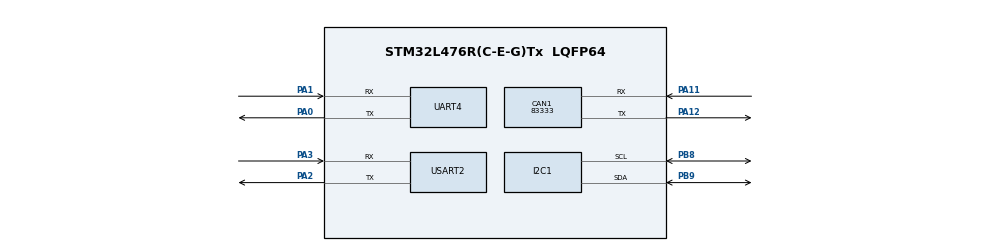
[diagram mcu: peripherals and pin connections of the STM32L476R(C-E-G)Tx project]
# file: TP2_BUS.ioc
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CAN1.CalculateBaudRate=83333
CAN1.CalculateTimeBit=12000.00
CAN1.CalculateTimeQuantum=4000.0
Mcu.Family=STM32L4
Mcu.Name=STM32L476R(C-E-G)Tx
Mcu.Package=LQFP64
NVIC.PriorityGroup=NVIC_PRIORITYGROUP_4
NVIC.UART4_IRQn=true\:0\:0\:false\:false\:true\:true\:true
NVIC.USART2_IRQn=true\:0\:0\:false\:false\:true\:true\:true
PA0.Mode=Asynchronous
PA0.Signal=UART4_TX
PA1.Mode=Asynchronous
PA1.Signal=UART4_RX
PA11.Mode=CAN_Activate
PA11.Signal=CAN1_RX
PA12.Mode=CAN_Activate
PA12.Signal=CAN1_TX
PA13\ (JTMS-SWDIO).Mode=Serial_Wire
PA13\ (JTMS-SWDIO).Signal=SYS_JTMS-SWDIO
PA14\ (JTCK-SWCLK).Mode=Serial_Wire
PA14\ (JTCK-SWCLK).Signal=SYS_JTCK-SWCLK
PA2.Mode=Asynchronous
PA2.Signal=USART2_TX
PA3.Mode=Asynchronous
PA3.Signal=USART2_RX
PB8.Mode=I2C
PB8.Signal=I2C1_SCL
PB9.Mode=I2C
PB9.Signal=I2C1_SDA
ProjectManager.HeapSize=0x200
ProjectManager.StackSize=0x400
ProjectManager.TargetToolchain=STM32CubeIDE
RCC.HSE_VALUE=8000000
RCC.HSI_VALUE=16000000
RCC.LSE_VALUE=32768
RCC.MSI_VALUE=4000000
RCC.VCOOutputFreq_Value=32000000
USART2.VirtualMode-Asynchronous=VM_ASYNC
board=custom

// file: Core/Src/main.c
/* USER CODE BEGIN Header */
/**
 ******************************************************************************
 * @file           : main.c
 * @brief          : Main program body
 ******************************************************************************
 * @attention
 *
 * <h2><center>&copy; Copyright (c) 2021 STMicroelectronics.
 * All rights reserved.</center></h2>
 *
 * This software component is licensed by ST under BSD 3-Clause license,
 * the "License"; You may not use this file except in compliance with the
 * License. You may obtain a copy of the License at:
 *                        opensource.org/licenses/BSD-3-Clause
 *
 ******************************************************************************
 */
/* USER CODE END Header */
#include "main.h"
#include "can.h"
#include "i2c.h"
#include "usart.h"
#include "gpio.h"

/* USER CODE BEGIN PV */
char echo[1];
int uart_it = 0;
int i = 0;
char Commande[100];
/* USER CODE END PV */

void SystemClock_Config(void);

int main(void)
{

	/* MCU Configuration--------------------------------------------------------*/

	/* Reset of all peripherals, Initializes the Flash interface and the Systick. */
	HAL_Init();

	/* Configure the system clock */
	SystemClock_Config();

	/* Initialize all configured peripherals */
	MX_GPIO_Init();
	MX_CAN1_Init();
	MX_I2C1_Init();
	MX_USART2_UART_Init();
	MX_UART4_Init();
	/* USER CODE BEGIN 2 */
	printf("\r\n========== TP2 : Bus et Réseaux ==========\r\n");
	Set_config();
	Get_calib();
	/* USER CODE END 2 */

	/* Infinite loop */
	/* USER CODE BEGIN WHILE */
	HAL_UART_Receive_IT(&huart2, (uint8_t *) echo, 1);
	HAL_UART_Receive_IT(&huart4, (uint8_t *) echo, 1);
	Ligne_Init(&huart2);
	Ligne_Init(&huart4);
	while (1)
	{
		if (uart_it==1)
		{
			HAL_UART_Transmit(&huart2, (uint8_t *) echo, 1, 0xFFFF);
			HAL_UART_Transmit(&huart4, (uint8_t *) echo, 1, 0xFFFF);
			//Exécution de la commande après appui sur la touche entrer
			if (echo[0]==ENTER){
				Commande_exec(i);
				i=0;
				Ligne_Init(&huart2);
				Ligne_Init(&huart4);
			}else{
				//Suppression d'un caractère après appui sur la touche delete
				if((echo[0]==DEL)&&(i>0)){
					Commande[i-1]=0;
					i=i-1;
				}else{
					//Ecriture de la commande dans un buffer
					Commande[i]= echo[0];
					i=i+1;
				}
			}
			uart_it=0;
		}
		/* USER CODE END WHILE */

	}
}

void SystemClock_Config(void)
{
	RCC_OscInitTypeDef RCC_OscInitStruct = {0};
	RCC_ClkInitTypeDef RCC_ClkInitStruct = {0};

	/** Configure the main internal regulator output voltage
	 */
	if (HAL_PWREx_ControlVoltageScaling(PWR_REGULATOR_VOLTAGE_SCALE1) != HAL_OK)
	{
		Error_Handler();
	}
	/** Initializes the RCC Oscillators according to the specified parameters
	 * in the RCC_OscInitTypeDef structure.
	 */
	RCC_OscInitStruct.OscillatorType = RCC_OSCILLATORTYPE_MSI;
	RCC_OscInitStruct.MSIState = RCC_MSI_ON;
	RCC_OscInitStruct.MSICalibrationValue = 0;
	RCC_OscInitStruct.MSIClockRange = RCC_MSIRANGE_6;
	RCC_OscInitStruct.PLL.PLLState = RCC_PLL_NONE;
	if (HAL_RCC_OscConfig(&RCC_OscInitStruct) != HAL_OK)
	{
		Error_Handler();
	}
	/** Initializes the CPU, AHB and APB buses clocks
	 */
	RCC_ClkInitStruct.ClockType = RCC_CLOCKTYPE_HCLK|RCC_CLOCKTYPE_SYSCLK
			|RCC_CLOCKTYPE_PCLK1|RCC_CLOCKTYPE_PCLK2;
	RCC_ClkInitStruct.SYSCLKSource = RCC_SYSCLKSOURCE_MSI;
	RCC_ClkInitStruct.AHBCLKDivider = RCC_SYSCLK_DIV1;
	RCC_ClkInitStruct.APB1CLKDivider = RCC_HCLK_DIV1;
	RCC_ClkInitStruct.APB2CLKDivider = RCC_HCLK_DIV1;

	if (HAL_RCC_ClockConfig(&RCC_ClkInitStruct, FLASH_LATENCY_0) != HAL_OK)
	{
		Error_Handler();
	}
}

/* USER CODE BEGIN 4 */

void HAL_UART_RxCpltCallback(UART_HandleTypeDef* huart)
{
	uart_it=1;
	if(huart->Instance==UART4){
		HAL_UART_Receive_IT(&huart4, (uint8_t *) echo, 1);
	}else{
		HAL_UART_Receive_IT(&huart2, (uint8_t *) echo, 1);
	}
}

/* USER CODE END 4 */

void Error_Handler(void)
{
	__disable_irq();
	while (1)
	{
	}
}

/************************ (C) COPYRIGHT STMicroelectronics *****END OF FILE****/
